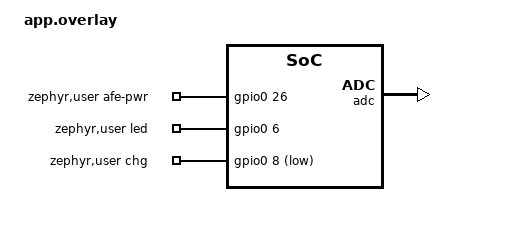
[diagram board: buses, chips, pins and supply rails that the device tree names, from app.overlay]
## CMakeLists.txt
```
#
# Discrete potentiostat firmware (nRF52832 SAADC, NCS)
# 3전극 정전위 크로노암페로메트리 — AD5941 없이 SAADC 직접측정
#
cmake_minimum_required(VERSION 3.20.0)

find_package(Zephyr REQUIRED HINTS $ENV{ZEPHYR_BASE})
project(discrete_pstat)

target_sources(app PRIVATE
	src/main.c
	src/meas.c                 # SAADC 측정 엔진 + AFE 전원 + 배터리
	src/store.c                # rf/os/cal NVM 영속화 (settings)
	src/databuf.c              # 무손실 데이터 버퍼 (AD5941 버전 재사용)
	src/cmd.c                  # JSON 명령 파서 (rf/os/zero/cal 확장)
)
```

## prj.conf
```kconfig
# ============================================================
#  디스크리트 포텐쇼스탯 (nRF52832 SAADC 직접측정)
#  BLE NUS 스트리밍 + RTT 로그 + NVM 설정 저장
# ============================================================

# ---- Bluetooth (BLE NUS) : AD5941 버전과 동일 구조 ----
CONFIG_BT=y
CONFIG_BT_PERIPHERAL=y
CONFIG_BT_DEVICE_NAME="pstat"
CONFIG_BT_NUS=y

# MTU / throughput (샘플 배치 한 줄이 기본 MTU 20B 를 넘으므로 크게)
CONFIG_BT_L2CAP_TX_MTU=247
CONFIG_BT_BUF_ACL_TX_SIZE=251
CONFIG_BT_BUF_ACL_RX_SIZE=251
CONFIG_BT_CTLR_DATA_LENGTH_MAX=251
CONFIG_BT_GATT_CLIENT=y

# HFXO 시동 대기시간 여유 (AD5941 보드 이력 계승 — 안전값)
CONFIG_MPSL_HFCLK_LATENCY=5000

# ---- Peripherals ----
CONFIG_GPIO=y
CONFIG_ADC=y
# SPI 없음 (AD5941 제거) — 명시적으로 끔
CONFIG_SPI=n
CONFIG_SERIAL=n

# ---- 부동소수점 (전류 환산/캘리브레이션) ----
CONFIG_FPU=y
CONFIG_CBPRINTF_FP_SUPPORT=y

# ---- LFCLK: 32.768kHz 크리스탈 미실장 → 내부 RC (+BLE 용 자동 캘리브레이션) ----
CONFIG_CLOCK_CONTROL_NRF_K32SRC_RC=y

# ---- 설정/캘리브레이션 NVM 저장 (rf_ohm / oversample / cal) ----
CONFIG_FLASH=y
CONFIG_FLASH_MAP=y
CONFIG_NVS=y
CONFIG_SETTINGS=y
CONFIG_SETTINGS_NVS=y

# ---- System OFF (배터리 컷오프) ----
CONFIG_POWEROFF=y

# ---- Logging: SEGGER RTT, non-blocking(overwrite) ----
CONFIG_LOG=y
CONFIG_USE_SEGGER_RTT=y
CONFIG_LOG_BACKEND_RTT=y
CONFIG_LOG_BACKEND_RTT_MODE_OVERWRITE=y
CONFIG_SEGGER_RTT_BUFFER_SIZE_UP=2048
CONFIG_LOG_MODE_DEFERRED=y

# ---- Stacks ----
CONFIG_MAIN_STACK_SIZE=4096
CONFIG_HEAP_MEM_POOL_SIZE=2048
```

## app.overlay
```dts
/*
 * ============================================================
 *  디스크리트 포텐쇼스탯 보드 — nRF52832 배선 정의
 *  (사용자 회로도 2026-07-12 확정 핀맵)
 *  ------------------------------------------------------------
 *  기능             넷           nRF52832 핀    비고
 *  ---------------  -----------  ------------   ----------------------
 *  SAADC 차동 +     TIA_OUT      P0.02 / AIN0   ΔV = I×RF
 *  SAADC 차동 −     VREF 1.024V  P0.03 / AIN1   REF35102 출력
 *  VBAT 모니터      VBAT_DIV     P0.04 / AIN2   1M:1M 분압 (VBAT/2)
 *  Qi 패드 감지     Charge       P0.05 / AIN3   MCP73832_VDD(≈5V) 1M:1M 분압
 *  AFE 전원(AVDD)   AVDD         P0.26          high-drive, REF35+LPV802 (~2µA)
 *  충전 상태        GPIO(STAT)   P0.08          MCP73832 STAT, 100k 풀업, LOW=충전중
 *  상태 LED(옵션)   —            P0.06          기본 미실장 — 실장 시 그대로 동작
 *  RESET/SWDIO/SWDCLK = 표준 SWD
 *
 *  AD5941 없음 → SPI 없음. 32.768kHz 크리스탈 없음 → LFRC (prj.conf).
 *  DCC 핀 미접속(인덕터 없음) → LDO 모드 (기본값 — &reg 오버라이드 금지).
 * ============================================================
 */

#include <zephyr/dt-bindings/gpio/nordic-nrf-gpio.h>

/* SAADC 활성화 (채널 구성은 meas.c 에서 런타임 — 게인 오토레인지 때문) */
&adc {
	status = "okay";
};

/* 미사용 주변장치 비활성 (DK 기본 dts 가 켜두는 것들 — 전력/핀 절약) */
&uart0 {
	status = "disabled";
};
&spi1 {
	status = "disabled";
};
&i2c0 {
	status = "disabled";
};

/ {
	zephyr,user {
		/* AVDD 직접 급전: 부하 ~2µA (REF35 VIN 100nF + LPV802 100nF) */
		afe-pwr-gpios = <&gpio0 26 (GPIO_ACTIVE_HIGH | NRF_GPIO_DRIVE_H0H1)>;
		led-gpios     = <&gpio0 6 GPIO_ACTIVE_HIGH>;  /* 옵션 — 미실장이어도 무해 */
		/* STAT 오픈드레인 + 외부 100k 풀업 → 내부 풀 불필요, LOW=충전중 */
		chg-gpios     = <&gpio0 8 GPIO_ACTIVE_LOW>;
	};
};
```

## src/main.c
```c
/*
 * ============================================================
 *  디스크리트 크로노암페로메트리 포텐쇼스탯 — 앱 제어형
 *  (nRF52832 SAADC 직접측정 — AD5941 없음)
 *  ------------------------------------------------------------
 *  - 전위 +0.512V 하드웨어 고정 (REF35102 1.024V + 1:1 분압)
 *  - LPV802 TIA (RF 교체가능: 1M/5.1M/10M) → SAADC 차동 (AIN0−AIN1)
 *  - SAADC 게인 오토레인지 {4, 1, 1/2} + 히스테리시스 + settle 폐기
 *  - HW 오버샘플링(런타임 설정) + 시간기반 페이싱 소프트 평균
 *  - 실행모드: Continuous / Timed / Cycle (대기중 AFE 전원 off = 분극 방지)
 *  - BLE NUS: JSON 명령(start/stop/config/ack/status/zero/cal),
 *    무손실 스트림 {"d":[[seq,t_ms,nA,range],...]} — AD5941 버전과 포맷 동일
 *  - 측정 파라미터 앱 제어: rate/mode/auto/range + rf/os (NVM 저장)
 *  - 캘리브레이션: zero(게인별 오프셋) / cal(더미셀 스케일) — NVM 저장
 *  - 배터리: VBAT 분압 감시, <3.3V 경고+start 거부, <3.0V System OFF
 *
 *  구조: meas_thread = AFE 전원+SAADC 측정 -> databuf 적재
 *        main loop   = databuf -> BLE 전송(무손실) + 상태/배터리 보고
 *        nus_received= JSON 명령 파싱 -> 상태머신/ACK/캘리브레이션 신호
 * ============================================================
 */

#include <zephyr/kernel.h>
#include <zephyr/sys/util.h>
#include <zephyr/sys/atomic.h>
#include <zephyr/sys/poweroff.h>
#include <zephyr/logging/log.h>

#include <zephyr/bluetooth/bluetooth.h>
#include <zephyr/bluetooth/conn.h>
#include <zephyr/bluetooth/gatt.h>
#include <bluetooth/services/nus.h>

#include "pstat.h"
#include "meas.h"
#include "store.h"
#include "databuf.h"
#include "cmd.h"

LOG_MODULE_REGISTER(pstat, LOG_LEVEL_INF);

/* ===================== 고정 상수 ===================== */
#define BIAS_MV        512.0f   /* 인가 전위 V(WE)-V(RE) = +0.512V (하드웨어 고정) */
#define AFE_SETTLE_MS  50       /* AFE_PWR on -> REF/앰프/RC 안정화 대기 */

/* 오토레인지 임계 (|ΔV| / FS 비율) — 게인비 4×/2× 에서 진동 없는 값 */
#define SAT_HI_FRAC    0.85f    /* 초과 시 게인 다운 (범위↑) */
#define SAT_LO_FRAC    0.18f    /* 미만 시 게인 업 (감도↑) */
#define AR_SETTLE      4        /* 게인 변경 후 '결정' 억제 샘플 수 */
#define RANGE_FLUSH    1        /* 게인 변경 직후 버릴 변환 수 */

/* 배터리 정책 (LIR2032 무보호 셀 — 펌웨어가 과방전 보호) */
#define VBAT_WARN_MV   3300     /* 경고 + 신규 start 거부 */
#define VBAT_CUT_MV    3000     /* 데이터 플러시 후 System OFF */
#define VBAT_PERIOD_MS 5000

/* BLE 연결간격 (1.25ms 단위), supervision timeout (10ms 단위)
 * — AD5941 버전에서 검증된 상시 빠른 간격 유지 (전환 지연/타임아웃 회피) */
#define CONN_FAST_MIN  24       /* 30ms */
#define CONN_FAST_MAX  40       /* 50ms */
#define CONN_REST_MIN  24
#define CONN_REST_MAX  40
#define CONN_TIMEOUT   500      /* 5000ms (iOS: interval*3 < timeout) */

/* ===================== 상태 ===================== */
static atomic_t g_state = ATOMIC_INIT(PSTAT_IDLE);
static volatile bool stop_req;
static K_SEM_DEFINE(start_sem, 0, 1);

static struct pstat_config g_cfg = {  /* 기본값 (rf/os 는 NVM 이 덮음) */
	.rate_hz = 10, .mode = PSTAT_MODE_CONTINUOUS, .autorange = true,
	.range_idx = 0, .duration_s = 60, .on_s = 5, .off_s = 295, .cycles = 0,
	.rf_ohm = 2000000, .oversample = 64,
};
static struct pstat_cal g_cal = { .scale = 1.0f, .off_nA = { 0 } };
static K_MUTEX_DEFINE(cfg_lock);

static struct pstat_config rc;   /* run copy (run() 진입 시 스냅샷) */
static int      cur_range;       /* 현재 게인 인덱스 (0=최고감도) */
static int      ar_settle;       /* 오토레인지 결정 억제 카운터 */
static int      range_flush;     /* 게인 변경 후 버릴 변환 수 */
static uint32_t run_t0;
static uint32_t run_cycle;
static uint32_t next_due;        /* 시간기반 페이싱: 다음 출력샘플 마감 */
static volatile bool status_req;
static volatile uint8_t cal_req;      /* 0=없음 1=zero 2=scale */
static volatile uint32_t cal_kohm;
static int      g_vbat_mv = -1;       /* 최근 배터리 전압 (main loop 갱신) */
static bool     low_batt;             /* <VBAT_WARN_MV */

/* ===================== BLE 전방선언 ===================== */
static struct bt_conn *current_conn;
static K_MUTEX_DEFINE(conn_lock);
static volatile bool notif_enabled;
static void ble_set_fast(bool fast);
static int tx_nus(const uint8_t *data, uint16_t len);

static struct bt_conn *conn_get(void)
{
	struct bt_conn *c = NULL;
	k_mutex_lock(&conn_lock, K_FOREVER);
	if (current_conn) {
		c = bt_conn_ref(current_conn);
	}
	k_mutex_unlock(&conn_lock);
	return c;
}

/* ===================== 측정 코어 (SAADC) ===================== */

/* ΔV[V] -> 전류[nA] (RF/캘리브레이션 반영) */
static float dv_to_nA(float dv)
{
	float raw = (dv / (float)rc.rf_ohm) * 1e9f;
	return raw * g_cal.scale - g_cal.off_nA[cur_range];
}

static void apply_range(int idx)
{
	if (meas_set_gain(idx) == 0) {
		cur_range = idx;
		ar_settle = AR_SETTLE;
		range_flush = RANGE_FLUSH;
	}
}

static void autorange_update(float dv)
{
	if (ar_settle > 0) {
		ar_settle--;
		return;
	}
	float av = (dv < 0) ? -dv : dv;
	float fs = meas_fs_volts();
	if (av > SAT_HI_FRAC * fs && cur_range < GAIN_N - 1) {
		apply_range(cur_range + 1);   /* 감도↓ 범위↑ */
	} else if (av < SAT_LO_FRAC * fs && cur_range > 0) {
		apply_range(cur_range - 1);   /* 감도↑ */
	}
}

/* AFE 전원 on + 초기 게인 + 안정화 */
static void afe_start(int range_idx)
{
	afe_power(true);
	k_msleep(AFE_SETTLE_MS);
	cur_range = -1;               /* meas_set_gain 강제 적용 */
	apply_range(range_idx);
	/* 파이프라인/RC 안정화: 첫 변환 몇 개 폐기 */
	float dv;
	for (int i = 0; i < 3 && !stop_req; i++) {
		meas_read_dv(rc.oversample, &dv);
	}
	range_flush = 0;
}

static void afe_stop(void)
{
	afe_power(false);   /* 소모 0 + CE 구동 차단 → 전극 분극 방지 */
}

/* 한 출력샘플: next_due 까지 도착한 HW 오버샘플 변환을 전부 평균해
 * 정확히 rate_hz 로 출력 (AD5941 버전의 SINC2 페이싱과 동일 구조) */
static bool sample_once(struct pstat_sample *smp)
{
	uint32_t period_ms = 1000U / rc.rate_hz;
	float vsum = 0.0f;
	int cnt = 0;
	float dv = 0.0f;

	while (range_flush > 0) {     /* 게인 세틀 구간 폐기 */
		if (stop_req || meas_read_dv(rc.oversample, &dv) != 0) {
			return false;
		}
		range_flush--;
	}

	do {
		if (stop_req) {
			return false;
		}
		if (meas_read_dv(rc.oversample, &dv) != 0) {
			return false;
		}
		vsum += dv;
		cnt++;
	} while ((int32_t)(k_uptime_get_32() - next_due) < 0);

	next_due += period_ms;
	if ((int32_t)(k_uptime_get_32() - next_due) > (int32_t)period_ms) {
		next_due = k_uptime_get_32() + period_ms;   /* 밀림 재동기화 */
	}

	float vavg = vsum / (float)cnt;
	smp->current_nA = dv_to_nA(vavg);
	smp->t_ms       = k_uptime_get_32() - run_t0;
	smp->range_idx  = (uint8_t)cur_range;
	if (rc.autorange) {
		autorange_update(vavg);
	}
	return true;
}

static void measure_phase(uint32_t dur_ms)
{
	uint32_t t0 = k_uptime_get_32();
	struct pstat_sample smp;

	next_due = t0 + 1000U / rc.rate_hz;

	while (!stop_req) {
		if (dur_ms && (k_uptime_get_32() - t0) >= dur_ms) {
			break;
		}
		if (!sample_once(&smp)) {
			break;
		}
		databuf_push(&smp);
	}
}

static void rest_delay(uint32_t ms)
{
	uint32_t t0 = k_uptime_get_32();
	while (!stop_req && (k_uptime_get_32() - t0) < ms) {
		k_msleep(50);
	}
}

static void run_once(void)
{
	int start_idx = rc.autorange ? 0 : CLAMP(rc.range_idx, 0, GAIN_N - 1);

	databuf_reset();
	run_t0 = k_uptime_get_32();
	run_cycle = 0;
	ble_set_fast(true);
	atomic_set(&g_state, PSTAT_RUN);
	status_req = true;
	led_set(true);

	if (rc.mode == PSTAT_MODE_CONTINUOUS) {
		afe_start(start_idx);
		measure_phase(0);
		afe_stop();
	} else if (rc.mode == PSTAT_MODE_TIMED) {
		afe_start(start_idx);
		measure_phase(rc.duration_s * 1000U);
		afe_stop();
	} else { /* CYCLE */
		int idx = start_idx;
		while (!stop_req) {
			run_cycle++;
			atomic_set(&g_state, PSTAT_RUN);
			ble_set_fast(true);
			led_set(true);
			/* 웜업(settle+프라이밍)을 on_s 에 포함 → 주기 길이 정확 */
			uint32_t t_on0 = k_uptime_get_32();
			afe_start(idx);
			uint32_t warm = k_uptime_get_32() - t_on0;
			uint32_t on_ms = rc.on_s * 1000U;
			measure_phase(on_ms > warm ? on_ms - warm : 1);
			afe_stop();
			if (rc.autorange) {
				idx = cur_range;   /* 수렴 게인을 다음 주기로 유지 */
			}
			if (stop_req) {
				break;
			}
			if (rc.cycles && run_cycle >= rc.cycles) {
				break;
			}
			atomic_set(&g_state, PSTAT_CYCLE_REST);
			status_req = true;
			ble_set_fast(false);
			led_set(false);
			rest_delay(rc.off_s * 1000U);
		}
	}

	atomic_set(&g_state, PSTAT_IDLE);
	status_req = true;
	ble_set_fast(false);
	led_set(false);
	LOG_INF("run finished (cycles=%u)", run_cycle);
}

/* ===================== 캘리브레이션 ===================== */

/* 게인별로 N 회 평균 ΔV[V] (AFE 는 이미 on 상태 가정) */
static float avg_dv(int gain_idx, int n)
{
	apply_range(gain_idx);
	float dv, sum = 0.0f;
	int k = 0;
	for (int i = 0; i < RANGE_FLUSH + 2; i++) {
		meas_read_dv(rc.oversample, &dv);   /* settle 폐기 */
	}
	range_flush = 0;
	for (int i = 0; i < n; i++) {
		if (meas_read_dv(rc.oversample, &dv) == 0) {
			sum += dv;
			k++;
		}
	}
	return k ? (sum / (float)k) : 0.0f;
}

/* zero: 셀 오픈(전극 미연결) 상태에서 게인별 오프셋 저장.
 * cal:  기지저항 R[kΩ] 더미셀 → 기대 I = 512mV/R, scale = 기대/측정 */
static void do_calibration(uint8_t kind, uint32_t kohm)
{
	char line[96];
	int n;

	k_mutex_lock(&cfg_lock, K_FOREVER);
	rc = g_cfg;   /* 최신 rf/os 반영 */
	k_mutex_unlock(&cfg_lock);

	afe_power(true);
	k_msleep(AFE_SETTLE_MS * 2);

	if (kind == 1) {          /* zero */
		for (int g = 0; g < GAIN_N; g++) {
			float dv = avg_dv(g, 64);
			g_cal.off_nA[g] = (dv / (float)rc.rf_ohm) * 1e9f * g_cal.scale;
		}
		store_save_cal(&g_cal);
		n = snprintk(line, sizeof(line),
			"{\"cal\":\"zero\",\"off\":[%.3f,%.3f,%.3f]}\n",
			(double)g_cal.off_nA[0], (double)g_cal.off_nA[1],
			(double)g_cal.off_nA[2]);
		tx_nus(line, n);
	} else {                  /* scale (기지저항) */
		float i_exp = (BIAS_MV * 1e6f) / ((float)kohm * 1000.0f); /* nA */
		float dv_exp = i_exp * (float)rc.rf_ohm / 1e9f;           /* V */
		/* 기대 ΔV 가 FS 의 60% 이내인 최고감도 게인 자동 선택 */
		static const float fs_v[GAIN_N] = { 0.15f, 0.6f, 1.2f };
		int g = GAIN_N - 1;
		for (int i = 0; i < GAIN_N; i++) {
			if (dv_exp < 0.6f * fs_v[i]) {
				g = i;
				break;
			}
		}
		float dv = avg_dv(g, 64);
		float i_raw = (dv / (float)rc.rf_ohm) * 1e9f - g_cal.off_nA[g] / g_cal.scale;
		if (i_raw > 0.01f) {
			g_cal.scale = i_exp / i_raw;
			g_cal.scale = CLAMP(g_cal.scale, 0.5f, 2.0f);
			store_save_cal(&g_cal);
		}
		n = snprintk(line, sizeof(line),
			"{\"cal\":\"scale\",\"exp_nA\":%.1f,\"meas_nA\":%.1f,\"scale\":%.4f}\n",
			(double)i_exp, (double)i_raw, (double)g_cal.scale);
		tx_nus(line, n);
	}

	afe_power(false);
	LOG_INF("calibration done (kind=%u)", kind);
}

/* ===================== 측정 스레드 ===================== */
static void meas_thread(void)
{
	while (1) {
		k_sem_take(&start_sem, K_FOREVER);

		if (cal_req) {                       /* 캘리브레이션 요청 */
			uint8_t kind = cal_req;
			cal_req = 0;
			do_calibration(kind, cal_kohm);
			atomic_set(&g_state, PSTAT_IDLE);
			status_req = true;
			continue;
		}

		k_mutex_lock(&cfg_lock, K_FOREVER);
		rc = g_cfg;   /* 스냅샷 */
		k_mutex_unlock(&cfg_lock);
		if (rc.rate_hz == 0) {
			rc.rate_hz = 1;
		}
		if (rc.oversample == 0) {
			rc.oversample = 1;
		}
		LOG_INF("START mode=%u rate=%uHz auto=%d rf=%u os=%u dur=%us on=%us off=%us cyc=%u",
			rc.mode, rc.rate_hz, (int)rc.autorange, rc.rf_ohm,
			rc.oversample, rc.duration_s, rc.on_s, rc.off_s, rc.cycles);
		run_once();
	}
}
K_THREAD_DEFINE(meas_tid, 3072, meas_thread, NULL, NULL, NULL, 5, 0, 0);

/* ===================== BLE ===================== */
#define DEVICE_NAME     CONFIG_BT_DEVICE_NAME
#define DEVICE_NAME_LEN (sizeof(DEVICE_NAME) - 1)

static const struct bt_data ad[] = {
	BT_DATA_BYTES(BT_DATA_FLAGS, (BT_LE_AD_GENERAL | BT_LE_AD_NO_BREDR)),
	BT_DATA(BT_DATA_NAME_COMPLETE, DEVICE_NAME, DEVICE_NAME_LEN),
};
static const struct bt_data sd[] = {
	BT_DATA_BYTES(BT_DATA_UUID128_ALL, BT_UUID_NUS_VAL),
};

static void start_advertising(void)
{
	int err = bt_le_adv_start(BT_LE_ADV_CONN_FAST_1, ad, ARRAY_SIZE(ad),
				  sd, ARRAY_SIZE(sd));
	if (err) {
		LOG_ERR("adv start failed (%d)", err);
	} else {
		LOG_INF("Advertising as '%s'", DEVICE_NAME);
	}
}
static void adv_work_handler(struct k_work *work) { start_advertising(); }
static K_WORK_DEFINE(adv_work, adv_work_handler);

static void ble_set_fast(bool fast)
{
	struct bt_conn *c = conn_get();
	if (!c) {
		return;
	}
	int err = fast
		? bt_conn_le_param_update(c, BT_LE_CONN_PARAM(CONN_FAST_MIN, CONN_FAST_MAX, 0, CONN_TIMEOUT))
		: bt_conn_le_param_update(c, BT_LE_CONN_PARAM(CONN_REST_MIN, CONN_REST_MAX, 0, CONN_TIMEOUT));
	if (err) {
		LOG_WRN("conn param update (%s) req failed (%d)", fast ? "fast" : "rest", err);
	}
	bt_conn_unref(c);
}

static void mtu_exchange_cb(struct bt_conn *conn, uint8_t err,
			    struct bt_gatt_exchange_params *params)
{
	LOG_INF("MTU exchange %s -> %u", err ? "FAIL" : "OK", bt_gatt_get_mtu(conn));
}
static struct bt_gatt_exchange_params mtu_exchange_params;

static void connected(struct bt_conn *conn, uint8_t err)
{
	if (err) {
		LOG_ERR("Connection failed (err %u)", err);
		k_work_submit(&adv_work);
		return;
	}
	k_mutex_lock(&conn_lock, K_FOREVER);
	current_conn = bt_conn_ref(conn);
	k_mutex_unlock(&conn_lock);
	notif_enabled = false;
	LOG_INF("Connected (MTU=%u)", bt_gatt_get_mtu(conn));

	mtu_exchange_params.func = mtu_exchange_cb;
	bt_gatt_exchange_mtu(conn, &mtu_exchange_params);

	databuf_rewind_unsent();
	ble_set_fast(atomic_get(&g_state) == PSTAT_RUN);
}

static void disconnected(struct bt_conn *conn, uint8_t reason)
{
	LOG_INF("Disconnected (reason %u) — 측정 계속, 버퍼 누적", reason);
	notif_enabled = false;
	k_mutex_lock(&conn_lock, K_FOREVER);
	if (current_conn) {
		bt_conn_unref(current_conn);
		current_conn = NULL;
	}
	k_mutex_unlock(&conn_lock);
	k_work_submit(&adv_work);
}

BT_CONN_CB_DEFINE(conn_callbacks) = {
	.connected = connected,
	.disconnected = disconnected,
};

static void nus_received(struct bt_conn *conn, const uint8_t *data, uint16_t len)
{
	struct cmd c;
	struct pstat_config base;

	k_mutex_lock(&cfg_lock, K_FOREVER);
	base = g_cfg;
	k_mutex_unlock(&cfg_lock);

	if (!cmd_parse((const char *)data, len, &c, &base)) {
		LOG_WRN("cmd parse fail (%u B)", len);
		return;
	}

	switch (c.type) {
	case CMD_ACK:
		databuf_ack(c.ack_seq);
		break;
	case CMD_STOP:
		stop_req = true;
		LOG_INF("cmd: stop");
		break;
	case CMD_CONFIG:
		k_mutex_lock(&cfg_lock, K_FOREVER);
		g_cfg = c.cfg;
		k_mutex_unlock(&cfg_lock);
		if (c.hw_changed) {
			store_save_hw(&c.cfg);   /* rf/os 는 NVM 영속화 */
			LOG_INF("cmd: config (rf=%u os=%u saved)", c.cfg.rf_ohm,
				c.cfg.oversample);
		} else {
			LOG_INF("cmd: config");
		}
		break;
	case CMD_START:
		k_mutex_lock(&cfg_lock, K_FOREVER);
		g_cfg = c.cfg;
		k_mutex_unlock(&cfg_lock);
		if (c.hw_changed) {
			store_save_hw(&c.cfg);
		}
		if (low_batt) {
			LOG_WRN("cmd: start 거부 (저전압 %dmV)", g_vbat_mv);
			status_req = true;
			break;
		}
		if (atomic_cas(&g_state, PSTAT_IDLE, PSTAT_RUN)) {
			stop_req = false;
			k_sem_give(&start_sem);
			LOG_INF("cmd: start");
		} else {
			LOG_WRN("cmd: start 무시 (이미 실행중 — stop 먼저)");
		}
		break;
	case CMD_ZERO:
	case CMD_CAL:
		if (atomic_cas(&g_state, PSTAT_IDLE, PSTAT_RUN)) {
			cal_req = (c.type == CMD_ZERO) ? 1 : 2;
			cal_kohm = c.cal_kohm;
			stop_req = false;
			k_sem_give(&start_sem);
			LOG_INF("cmd: cal (kind=%u kohm=%u)", cal_req, cal_kohm);
		} else {
			LOG_WRN("cmd: cal 무시 (측정중 — stop 먼저)");
		}
		break;
	case CMD_STATUS:
		status_req = true;
		break;
	default:
		break;
	}
}

static void nus_send_enabled(enum bt_nus_send_status status)
{
	notif_enabled = (status == BT_NUS_SEND_STATUS_ENABLED);
	LOG_INF("NUS notify %s", notif_enabled ? "ENABLED" : "disabled");
}

static struct bt_nus_cb nus_cb = {
	.received = nus_received,
	.send_enabled = nus_send_enabled,
};

static int tx_nus(const uint8_t *data, uint16_t len)
{
	if (!notif_enabled) {
		return -ENOTCONN;
	}
	struct bt_conn *c = conn_get();
	if (!c) {
		return -ENOTCONN;
	}
	int err = bt_nus_send(c, data, len);
	bt_conn_unref(c);
	return err;
}

/* ===================== 데이터/상태 전송 ===================== */
#define BATCH_MAX   5
#define DRAIN_ITERS 8

static void tx_status(void)
{
	char line[224];
	const char *st = "idle";
	uint8_t mode;
	uint16_t rate;
	uint32_t rf;
	uint16_t os;

	enum pstat_state s = (enum pstat_state)atomic_get(&g_state);
	if (s == PSTAT_RUN) {
		st = "run";
	} else if (s == PSTAT_CYCLE_REST) {
		st = "rest";
	}
	k_mutex_lock(&cfg_lock, K_FOREVER);
	mode = rc.mode;
	rate = rc.rate_hz;
	rf   = g_cfg.rf_ohm;
	os   = g_cfg.oversample;
	k_mutex_unlock(&cfg_lock);

	int n = snprintk(line, sizeof(line),
		"{\"st\":\"%s\",\"mode\":%u,\"rate\":%u,\"cyc\":%u,\"range\":%d,"
		"\"pend\":%u,\"buf\":%u,\"gap\":%d,"
		"\"vbat\":%d,\"chg\":%d,\"qi\":%d,\"lb\":%d,\"rf\":%u,\"os\":%u}\n",
		st, mode, rate, run_cycle, cur_range,
		databuf_pending(), databuf_unacked(), (int)databuf_gap(),
		g_vbat_mv, (int)meas_charging(), (int)meas_qi_present(),
		(int)low_batt, rf, os);
	tx_nus(line, n);
}

/* 배터리 감시: 경고/컷오프. 컷오프 시 측정 정지→플러시 대기→System OFF */
static void battery_check(void)
{
	int mv = meas_vbat_mv();
	if (mv < 0) {
		return;
	}
	g_vbat_mv = mv;
	bool lb = (mv < VBAT_WARN_MV);
	if (lb != low_batt) {
		low_batt = lb;
		status_req = true;
		LOG_WRN("battery %dmV (%s)", mv, lb ? "LOW" : "ok");
	}
	if (mv < VBAT_CUT_MV && !meas_charging()) {
		LOG_ERR("battery cutoff (%dmV) — flush 후 System OFF", mv);
		stop_req = true;
		/* 남은 데이터 플러시 기회 (연결돼 있으면 main loop 가 전송) */
		for (int i = 0; i < 100 && databuf_pending(); i++) {
			k_msleep(100);
		}
		afe_power(false);
		led_set(false);
		sys_poweroff();   /* 복귀 = 리셋(충전 후 전원 재투입) */
	}
}

int main(void)
{
	int err;

	LOG_INF("=== discrete potentiostat (nRF52832 SAADC, app-controlled) ===");

	if (meas_init() != 0) {
		LOG_ERR("meas init failed");
		return 0;
	}
	store_init(&g_cfg, &g_cal);   /* NVM 에서 rf/os/cal 로드 */

	err = bt_enable(NULL);
	if (err) {
		LOG_ERR("bt_enable failed (%d)", err);
		return 0;
	}
	bt_nus_init(&nus_cb);
	start_advertising();
	battery_check();
	LOG_INF("ready. rf=%u os=%u scale=%.4f vbat=%dmV",
		g_cfg.rf_ohm, g_cfg.oversample, (double)g_cal.scale, g_vbat_mv);

	uint32_t tick = 0;
	char line[256];
	struct pstat_sample batch[BATCH_MAX];

	while (1) {
		k_msleep(20);
		tick++;

		/* 배터리: 5초마다 (측정 중에도 — SAADC 채널 분리라 간섭 없음) */
		if ((tick % (VBAT_PERIOD_MS / 20)) == 0) {
			battery_check();
		}
		/* 유휴+미연결: LED 짧은 블링크 (광고 표시) */
		if (!current_conn && atomic_get(&g_state) == PSTAT_IDLE) {
			led_set((tick % 100) < 3);   /* 2초마다 60ms */
		}

		if (!current_conn || !notif_enabled) {
			if ((tick % 250) == 0) {
				LOG_INF("alive up=%us state=%ld pend=%u buf=%u vbat=%d conn=%d",
					k_uptime_get_32() / 1000U, atomic_get(&g_state),
					databuf_pending(), databuf_unacked(),
					g_vbat_mv, current_conn ? 1 : 0);
			}
			continue;
		}

		/* 데이터 드레인 (무손실: 전송 성공한 배치만 절대위치 commit) */
		for (int it = 0; it < DRAIN_ITERS; it++) {
			uint32_t base;
			uint32_t k = databuf_peek_batch(batch, BATCH_MAX, &base);
			if (k == 0) {
				break;
			}
			int o = snprintk(line, sizeof(line), "{\"d\":[");
			for (uint32_t i = 0; i < k; i++) {
				size_t rem = (o < (int)sizeof(line)) ? sizeof(line) - o : 0;
				o += snprintk(line + o, rem, "%s[%u,%u,%.3f,%u]",
					i ? "," : "", batch[i].seq, batch[i].t_ms,
					(double)batch[i].current_nA, batch[i].range_idx);
			}
			{
				size_t rem = (o < (int)sizeof(line)) ? sizeof(line) - o : 0;
				o += snprintk(line + o, rem, "]}\n");
			}
			if (o >= (int)sizeof(line)) {
				continue;
			}
			if (tx_nus(line, o) == 0) {
				databuf_commit_sent(base, k);
			} else {
				break;
			}
		}

		if (status_req || (tick % 50) == 0) {
			status_req = false;
			tx_status();
		}
	}
	return 0;
}
```

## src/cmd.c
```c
/*
 * cmd.c — 소형 JSON 명령 파서 (고정 스키마 전용, 범용 아님)
 *  AD5941 버전과 동일 구조 + rf/os/zero/cal 확장.
 */
#include "cmd.h"
#include <zephyr/sys/util.h>
#include <stdlib.h>
#include <string.h>
#include <stdio.h>

/* "key" 뒤 콜론 다음 값의 시작 포인터 반환 (없으면 NULL) */
static const char *jfind(const char *buf, const char *key)
{
	char pat[24];
	snprintf(pat, sizeof(pat), "\"%s\"", key);
	const char *p = strstr(buf, pat);
	if (!p) {
		return NULL;
	}
	p += strlen(pat);
	while (*p && *p != ':') {
		p++;
	}
	if (*p != ':') {
		return NULL;
	}
	p++;
	while (*p == ' ' || *p == '\t') {
		p++;
	}
	return p;
}

static bool jint(const char *buf, const char *key, long *out)
{
	const char *p = jfind(buf, key);
	if (!p) {
		return false;
	}
	char *end = NULL;
	long v = strtol(p, &end, 10);
	if (end == p) {
		return false;
	}
	*out = v;
	return true;
}

static bool jstr(const char *buf, const char *key, char *out, size_t n)
{
	const char *p = jfind(buf, key);
	if (!p || *p != '"') {
		return false;
	}
	p++;
	size_t i = 0;
	while (*p && *p != '"' && i < n - 1) {
		out[i++] = *p++;
	}
	out[i] = '\0';
	return true;
}

/* 1..256 을 2^n 으로 절사 */
static uint16_t pow2_floor(long v)
{
	uint16_t p = 1;
	while ((p << 1) <= v && p < 256) {
		p <<= 1;
	}
	return p;
}

bool cmd_parse(const char *json, size_t len, struct cmd *out,
	       const struct pstat_config *base)
{
	char buf[192];
	size_t n = (len < sizeof(buf) - 1) ? len : sizeof(buf) - 1;
	memcpy(buf, json, n);
	buf[n] = '\0';

	char c[16];
	if (!jstr(buf, "cmd", c, sizeof(c))) {
		return false;
	}

	memset(out, 0, sizeof(*out));
	long v;

	if (!strcmp(c, "ack")) {
		out->type = CMD_ACK;
		if (jint(buf, "seq", &v)) {
			out->ack_seq = (uint32_t)v;
		}
		return true;
	}
	if (!strcmp(c, "stop")) {
		out->type = CMD_STOP;
		return true;
	}
	if (!strcmp(c, "status")) {
		out->type = CMD_STATUS;
		return true;
	}
	if (!strcmp(c, "zero")) {
		out->type = CMD_ZERO;
		return true;
	}
	if (!strcmp(c, "cal")) {
		out->type = CMD_CAL;
		out->cal_kohm = 1000;   /* 기본 1 MΩ 더미셀 */
		if (jint(buf, "kohm", &v)) {
			out->cal_kohm = (uint32_t)CLAMP(v, 1, 100000);
		}
		return true;
	}
	if (!strcmp(c, "config") || !strcmp(c, "start")) {
		out->type = strcmp(c, "start") ? CMD_CONFIG : CMD_START;
		out->cfg = *base;   /* 미지정 필드는 현재값 유지 */

		if (jint(buf, "rate", &v)) {
			out->cfg.rate_hz = (uint16_t)CLAMP(v, 1, 100);
		}
		char m[12];
		if (jstr(buf, "mode", m, sizeof(m))) {
			if (!strcmp(m, "continuous")) {
				out->cfg.mode = PSTAT_MODE_CONTINUOUS;
			} else if (!strcmp(m, "timed")) {
				out->cfg.mode = PSTAT_MODE_TIMED;
			} else if (!strcmp(m, "cycle")) {
				out->cfg.mode = PSTAT_MODE_CYCLE;
			}
		}
		/* 초 값 상한: *1000(ms) 가 uint32 를 넘지 않게 */
		if (jint(buf, "dur", &v)) {
			out->cfg.duration_s = (uint32_t)CLAMP(v, 0, 4000000);
		}
		if (jint(buf, "on", &v)) {
			out->cfg.on_s = (uint32_t)CLAMP(v, 0, 4000000);
		}
		if (jint(buf, "off", &v)) {
			out->cfg.off_s = (uint32_t)CLAMP(v, 0, 4000000);
		}
		if (jint(buf, "cycles", &v)) {
			out->cfg.cycles = (uint32_t)MAX(v, 0);
		}
		if (jint(buf, "auto", &v)) {
			out->cfg.autorange = (v != 0);
		}
		if (jint(buf, "range", &v)) {
			out->cfg.range_idx = (uint8_t)CLAMP(v, 0, GAIN_N - 1);
		}
		/* --- 하드웨어 파라미터 (지정 시 NVM 저장 플래그) --- */
		if (jint(buf, "rf", &v)) {
			out->cfg.rf_ohm = (uint32_t)CLAMP(v, 10000, 100000000);
			out->hw_changed = true;
		}
		if (jint(buf, "os", &v)) {
			out->cfg.oversample = pow2_floor(CLAMP(v, 1, 256));
			out->hw_changed = true;
		}
		return true;
	}
	return false;
}
```

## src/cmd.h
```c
/*
 * cmd.h — BLE(NUS) JSON 명령 파서 (AD5941 버전과 프로토콜 호환 + 확장)
 *  기존 명령 (앱 무수정 동작):
 *   {"cmd":"start","mode":"cycle","rate":10,"on":5,"off":295,"cycles":0,"auto":1}
 *   {"cmd":"config",...}   {"cmd":"stop"}   {"cmd":"status"}   {"cmd":"ack","seq":N}
 *  확장 (측정 파라미터 — config/start 에 추가 필드로):
 *   "rf":1000000      TIA RF [Ω] (보드에서 교체 시 알려줌, NVM 저장)
 *   "os":64           SAADC 하드웨어 오버샘플 (1..256, 2^n 절사, NVM 저장)
 *   "auto":0,"range":2  게인 수동 고정 (0=±150nA … 2=±2.1µA @1MΩ)
 *  확장 (캘리브레이션):
 *   {"cmd":"zero"}              셀 오픈 상태에서 게인별 제로 오프셋 측정+저장
 *   {"cmd":"cal","kohm":1000}   기지저항 더미셀로 스케일 보정 (I=512mV/R)
 *  전위는 하드웨어 고정(+0.512V)이라 명령에 없음.
 */
#ifndef CMD_H_
#define CMD_H_

#include "pstat.h"
#include <stddef.h>

enum cmd_type {
	CMD_NONE = 0,
	CMD_CONFIG,
	CMD_START,
	CMD_STOP,
	CMD_ACK,
	CMD_STATUS,
	CMD_ZERO,      /* 제로(오프셋) 캘리브레이션 */
	CMD_CAL,       /* 스케일 캘리브레이션 (기지저항) */
};

struct cmd {
	enum cmd_type type;
	struct pstat_config cfg; /* CONFIG/START: base 에서 시작해 지정 필드만 덮음 */
	uint32_t ack_seq;        /* ACK */
	uint32_t cal_kohm;       /* CAL: 더미셀 저항 [kΩ] */
	bool     hw_changed;     /* rf/os 필드가 실제로 지정됨 → NVM 저장 필요 */
};

/* JSON 한 줄 파싱. base=현재 설정(미지정 필드 기본값). 성공 시 true. */
bool cmd_parse(const char *json, size_t len, struct cmd *out,
	       const struct pstat_config *base);

#endif /* CMD_H_ */
```

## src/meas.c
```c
/*
 * meas.c — SAADC 측정 엔진 구현 (nRF52832)
 * ------------------------------------------------------------
 *  - 차동 12bit: AIN0(TIA_OUT) − AIN1(VREF 1.024V), 내부 0.6V 레퍼런스
 *  - 게인 테이블 {4, 1, 1/2} → FS ±0.15/±0.6/±1.2 V (index0 = 최고감도)
 *  - HW 오버샘플링(≤256, 단일채널 burst) — RF 가 작을수록 크게 설정
 *  - acquisition 40 µs: 소스 임피던스(RC 1 kΩ + TIA 출력) 대응
 *  - 게인 전환 시 SAADC 오프셋 캘리브레이션 재수행
 */
#include "meas.h"
#include "pstat.h"

#include <zephyr/kernel.h>
#include <zephyr/device.h>
#include <zephyr/drivers/adc.h>
#include <zephyr/drivers/gpio.h>
#include <zephyr/logging/log.h>
#include <hal/nrf_saadc.h>

LOG_MODULE_REGISTER(meas, LOG_LEVEL_INF);

#define ADC_NODE  DT_NODELABEL(adc)
static const struct device *adc_dev = DEVICE_DT_GET(ADC_NODE);

static const struct gpio_dt_spec afe_pwr =
	GPIO_DT_SPEC_GET(DT_PATH(zephyr_user), afe_pwr_gpios);
static const struct gpio_dt_spec led =
	GPIO_DT_SPEC_GET(DT_PATH(zephyr_user), led_gpios);
static const struct gpio_dt_spec chg =
	GPIO_DT_SPEC_GET(DT_PATH(zephyr_user), chg_gpios);

/* 게인 테이블: index0 = 최고감도 (FS 좁음) */
static const struct {
	enum adc_gain gain;
	float fs_v;                 /* |ΔV| 풀스케일 = 0.6 V / gain */
} GAIN_TAB[GAIN_N] = {
	{ ADC_GAIN_4,   0.15f },    /* |I| < 150 nA @1 MΩ, LSB 73 pA */
	{ ADC_GAIN_1,   0.6f  },
	{ ADC_GAIN_1_2, 1.2f  },    /* −0.9 / +2.1 µA 풀레인지 @1 MΩ */
};

#define CH_MEAS  0
#define CH_VBAT  1
#define CH_QI    2

static int  cur_gain = GAIN_N - 1;
static bool need_calib = true;      /* 게인 변경/부팅 후 1회 SAADC 캘리브레이션 */

static int setup_meas_channel(int gain_idx)
{
	const struct adc_channel_cfg cfg = {
		.gain             = GAIN_TAB[gain_idx].gain,
		.reference        = ADC_REF_INTERNAL,          /* 0.6 V */
		.acquisition_time = ADC_ACQ_TIME(ADC_ACQ_TIME_MICROSECONDS, 40),
		.channel_id       = CH_MEAS,
		.differential     = 1,
		.input_positive   = NRF_SAADC_AIN0,            /* TIA_OUT (P0.02) */
		.input_negative   = NRF_SAADC_AIN1,            /* VREF    (P0.03) */
	};
	return adc_channel_setup(adc_dev, &cfg);
}

static int setup_vbat_channel(void)
{
	const struct adc_channel_cfg cfg = {
		.gain             = ADC_GAIN_1_4,              /* FS 2.4 V (VBAT/2 ≤ 2.1) */
		.reference        = ADC_REF_INTERNAL,
		.acquisition_time = ADC_ACQ_TIME(ADC_ACQ_TIME_MICROSECONDS, 40),
		.channel_id       = CH_VBAT,
		.input_positive   = NRF_SAADC_AIN2,            /* VBAT/2 (P0.04) */
	};
	return adc_channel_setup(adc_dev, &cfg);
}

static int setup_qi_channel(void)
{
	const struct adc_channel_cfg cfg = {
		.gain             = ADC_GAIN_1_4,              /* FS 2.4 V (5V/2 → 2.5V 는 클램프돼도 판정 무관) */
		.reference        = ADC_REF_INTERNAL,
		.acquisition_time = ADC_ACQ_TIME(ADC_ACQ_TIME_MICROSECONDS, 40),
		.channel_id       = CH_QI,
		.input_positive   = NRF_SAADC_AIN3,            /* Charge = MCP73832_VDD/2 (P0.05) */
	};
	return adc_channel_setup(adc_dev, &cfg);
}

int meas_init(void)
{
	if (!device_is_ready(adc_dev)) {
		LOG_ERR("ADC not ready");
		return -ENODEV;
	}
	int err = gpio_pin_configure_dt(&afe_pwr, GPIO_OUTPUT_INACTIVE);
	err |= gpio_pin_configure_dt(&led, GPIO_OUTPUT_INACTIVE);
	err |= gpio_pin_configure_dt(&chg, GPIO_INPUT);
	if (err) {
		LOG_ERR("gpio config failed");
		return -EIO;
	}
	err = setup_meas_channel(cur_gain);
	err |= setup_vbat_channel();
	err |= setup_qi_channel();
	return err ? -EIO : 0;
}

void afe_power(bool on)
{
	gpio_pin_set_dt(&afe_pwr, on ? 1 : 0);
}

int meas_set_gain(int gain_idx)
{
	if (gain_idx < 0 || gain_idx >= GAIN_N) {
		return -EINVAL;
	}
	if (gain_idx == cur_gain) {
		return 0;
	}
	int err = setup_meas_channel(gain_idx);
	if (err == 0) {
		cur_gain = gain_idx;
		need_calib = true;   /* 게인 바뀌면 SAADC 오프셋 재캘리브레이션 */
	}
	return err;
}

float meas_fs_volts(void)
{
	return GAIN_TAB[cur_gain].fs_v;
}

/* oversample(1..256) → log2 절사 */
static uint8_t os_log2(uint16_t os)
{
	uint8_t n = 0;
	while ((1U << (n + 1)) <= os && n < 8) {
		n++;
	}
	return n;
}

int meas_read_dv(uint16_t oversample, float *dv)
{
	int16_t raw;
	struct adc_sequence seq = {
		.channels     = BIT(CH_MEAS),
		.buffer       = &raw,
		.buffer_size  = sizeof(raw),
		.resolution   = 12,
		.oversampling = os_log2(oversample),
		.calibrate    = need_calib,
	};
	int err = adc_read(adc_dev, &seq);
	if (err) {
		return err;
	}
	need_calib = false;
	/* 차동 12bit: −2048..2047 → ΔV = raw/2048 × FS */
	*dv = ((float)raw / 2048.0f) * GAIN_TAB[cur_gain].fs_v;
	return 0;
}

int meas_vbat_mv(void)
{
	int16_t raw;
	struct adc_sequence seq = {
		.channels    = BIT(CH_VBAT),
		.buffer      = &raw,
		.buffer_size = sizeof(raw),
		.resolution  = 12,
	};
	int err = adc_read(adc_dev, &seq);
	if (err) {
		return err;
	}
	if (raw < 0) {
		raw = 0;
	}
	/* 단극 12bit: V = raw/4096 × 2.4 V, 분압 1:1 → ×2 → mV */
	return (int)((raw * 2400L * 2L) / 4096L);
}

int meas_qi_mv(void)
{
	int16_t raw;
	struct adc_sequence seq = {
		.channels    = BIT(CH_QI),
		.buffer      = &raw,
		.buffer_size = sizeof(raw),
		.resolution  = 12,
	};
	int err = adc_read(adc_dev, &seq);
	if (err) {
		return err;
	}
	if (raw < 0) {
		raw = 0;
	}
	/* 단극 12bit: V = raw/4096 × 2.4 V, 분압 1:1 → ×2 → mV (패드 위 ≈5000) */
	return (int)((raw * 2400L * 2L) / 4096L);
}

bool meas_qi_present(void)
{
	/* BQ51013B OUT 은 패드 위에서 5V 정전압 — 절반인 2.5V 를 한참 밑도는
	 * 2V 를 문턱으로 (패드 밖은 방전된 채 ~0V) */
	return meas_qi_mv() > 2000;
}

bool meas_charging(void)
{
	/* /CHG (STAT): 오픈드레인, LOW=충전중. overlay 에서 ACTIVE_LOW 선언
	 * → 논리 1 = 충전중 */
	return gpio_pin_get_dt(&chg) == 1;
}

void led_set(bool on)
{
	gpio_pin_set_dt(&led, on ? 1 : 0);
}
```

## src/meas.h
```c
/*
 * meas.h — SAADC 측정 엔진 + AFE 전원 + 배터리/충전 모니터
 * ------------------------------------------------------------
 * 하드웨어 (사용자 회로도 확정 핀맵 — app.overlay 와 일치):
 *   AIN0 = P0.02 = TIA_OUT      (차동 +)   ΔV = I_WE × RF
 *   AIN1 = P0.03 = VREF 1.024 V (차동 −)
 *   AIN2 = P0.04 = VBAT × 1/2   (1 MΩ:1 MΩ 분압)
 *   AIN3 = P0.05 = Charge = MCP73832_VDD × 1/2 (Qi 패드 감지, 패드 위 ≈2.5 V)
 *   P0.26 = AVDD 직접 급전 (high-drive, REF35102 + LPV802 ~2 µA)
 *   P0.08 = /CHG (MCP73832 STAT, 오픈드레인+100k 풀업, LOW=충전중)
 *   P0.06 = LED (옵션, 기본 미실장)
 */
#ifndef MEAS_H_
#define MEAS_H_

#include <stdint.h>
#include <stdbool.h>

int  meas_init(void);

/* AFE(레퍼런스+앰프) 전원. on 후 안정화 ~50 ms 는 호출측에서 대기. */
void afe_power(bool on);

/* SAADC 게인 전환 (0..GAIN_N-1). 다음 read 에서 재캘리브레이션 수행. */
int  meas_set_gain(int gain_idx);

/* 한 번의 HW 오버샘플 변환 → ΔV [V] (TIA_OUT − VREF).
 * oversample 은 2^n 으로 절사(1..256). 실패 시 음수 반환. */
int  meas_read_dv(uint16_t oversample, float *dv);

/* 현재 게인의 풀스케일 [V] (±FS) */
float meas_fs_volts(void);

/* 배터리 전압 [mV] (분압 ×2 반영). 실패 시 음수. */
int  meas_vbat_mv(void);

/* Qi 충전패드 위에 있으면(무선 5V 수신 중) true / 원시값 [mV] */
bool meas_qi_present(void);
int  meas_qi_mv(void);

/* 충전 중이면 true (MCP73832 STAT LOW) */
bool meas_charging(void);

void led_set(bool on);

#endif /* MEAS_H_ */
```

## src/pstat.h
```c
/*
 * pstat.h — 디스크리트 포텐쇼스탯(nRF52832 SAADC 직접측정) 공유 타입
 * ------------------------------------------------------------
 * AD5941 버전과의 차이:
 *  - MCU 가 직접 ADC (SAADC 차동: AIN0=TIA_OUT − AIN1=VREF 1.024V)
 *  - 레인지 = SAADC 게인 인덱스 (RTIA 전환 아님 — RF 는 고정 저항)
 *  - RF/오버샘플링은 보드에서 교체/조정 가능하므로 런타임 설정값 (NVM 저장)
 * 전위는 하드웨어 고정(+0.512V, VREF 1:1 분압)이므로 config 에 전압 필드 없음.
 */
#ifndef PSTAT_H_
#define PSTAT_H_

#include <stdint.h>
#include <stdbool.h>

/* 실행 모드 */
enum pstat_mode {
	PSTAT_MODE_CONTINUOUS = 0, /* 무한 (stop 까지) */
	PSTAT_MODE_TIMED,          /* duration_s 후 자동정지 */
	PSTAT_MODE_CYCLE,          /* on_s 측정 / off_s 대기(AFE off) 반복 */
};

/* 실행 상태 */
enum pstat_state {
	PSTAT_IDLE = 0,
	PSTAT_RUN,        /* 측정중 */
	PSTAT_CYCLE_REST, /* cycle 대기 (AFE 전원 off) */
};

/* SAADC 게인 레인지: index0 = 최고감도. FS(ΔV) = ±0.6V/gain */
#define GAIN_N 3   /* 0: gain4(±0.15V) / 1: gain1(±0.6V) / 2: gain1/2(±1.2V) */

/* 앱에서 받는 측정 설정 (BLE config/start 로 갱신, rf/os 는 NVM 저장) */
struct pstat_config {
	uint16_t rate_hz;    /* 출력 샘플레이트 1~100 */
	uint8_t  mode;       /* enum pstat_mode */
	bool     autorange;  /* true=SAADC 게인 오토레인지 */
	uint8_t  range_idx;  /* 수동/시작 게인 인덱스 (0..GAIN_N-1) */
	uint32_t duration_s; /* TIMED: 측정 시간 */
	uint32_t on_s;       /* CYCLE: 측정 구간 */
	uint32_t off_s;      /* CYCLE: 대기 구간 */
	uint32_t cycles;     /* CYCLE: 반복 횟수 (0=무한) */
	/* --- 하드웨어 파라미터 (RF/CF 교체 시 앱에서 변경, NVM 저장) --- */
	uint32_t rf_ohm;     /* TIA 피드백 저항 [Ω] (기본 1M, 5.1M/10M 교체 가능) */
	uint16_t oversample; /* SAADC 하드웨어 오버샘플 1/2/4/…/256 (2^n 으로 반올림) */
};

/* 캘리브레이션 (NVM 저장) */
struct pstat_cal {
	float scale;            /* 전류 스케일 (더미셀 보정, 기본 1.0) */
	float off_nA[GAIN_N];   /* 게인별 제로 오프셋 [nA] (셀 오픈 보정) */
};

/* 한 측정 샘플 (16바이트) — 전송 포맷 [seq,t_ms,current_nA,range] 동일 */
struct pstat_sample {
	uint32_t seq;        /* 전역 시퀀스, databuf 가 부여 */
	uint32_t t_ms;       /* 런 시작 후 경과 ms */
	float    current_nA; /* 전류 (게인/RF/캘리브레이션 반영) */
	uint8_t  range_idx;  /* 이 샘플의 SAADC 게인 인덱스 */
	uint8_t  _pad[3];
};

#endif /* PSTAT_H_ */
```

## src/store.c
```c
/*
 * store.c — settings/NVS 영속화 구현
 *  키: pstat/rf (u32), pstat/os (u16), pstat/cal (struct pstat_cal)
 */
#include "store.h"

#include <zephyr/kernel.h>
#include <zephyr/settings/settings.h>
#include <zephyr/logging/log.h>
#include <string.h>

LOG_MODULE_REGISTER(store, LOG_LEVEL_INF);

static struct pstat_config *s_cfg;
static struct pstat_cal    *s_cal;

static int pstat_set(const char *name, size_t len, settings_read_cb read_cb,
		     void *cb_arg)
{
	if (!strcmp(name, "rf") && len == sizeof(uint32_t)) {
		uint32_t v;
		if (read_cb(cb_arg, &v, sizeof(v)) == sizeof(v) && v >= 10000 &&
		    v <= 100000000) {
			s_cfg->rf_ohm = v;
		}
		return 0;
	}
	if (!strcmp(name, "os") && len == sizeof(uint16_t)) {
		uint16_t v;
		if (read_cb(cb_arg, &v, sizeof(v)) == sizeof(v) && v >= 1 && v <= 256) {
			s_cfg->oversample = v;
		}
		return 0;
	}
	if (!strcmp(name, "cal") && len == sizeof(struct pstat_cal)) {
		struct pstat_cal c;
		if (read_cb(cb_arg, &c, sizeof(c)) == sizeof(c) &&
		    c.scale > 0.5f && c.scale < 2.0f) {   /* 온전성 검사 */
			*s_cal = c;
		}
		return 0;
	}
	return -ENOENT;
}

SETTINGS_STATIC_HANDLER_DEFINE(pstat, "pstat", NULL, pstat_set, NULL, NULL);

int store_init(struct pstat_config *cfg, struct pstat_cal *cal)
{
	s_cfg = cfg;
	s_cal = cal;
	int err = settings_subsys_init();
	if (err) {
		LOG_ERR("settings init failed (%d)", err);
		return err;
	}
	settings_load_subtree("pstat");
	LOG_INF("loaded: rf=%u os=%u scale=%.4f", cfg->rf_ohm, cfg->oversample,
		(double)cal->scale);
	return 0;
}

void store_save_hw(const struct pstat_config *cfg)
{
	settings_save_one("pstat/rf", &cfg->rf_ohm, sizeof(cfg->rf_ohm));
	settings_save_one("pstat/os", &cfg->oversample, sizeof(cfg->oversample));
}

void store_save_cal(const struct pstat_cal *cal)
{
	settings_save_one("pstat/cal", cal, sizeof(*cal));
}
```

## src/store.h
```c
/*
 * store.h — 설정/캘리브레이션 NVM 영속화 (Zephyr settings + NVS)
 *  RF/CF 교체 절차: ① 새 RF 납땜 ② 앱에서 {"cmd":"config","rf":...,"os":...}
 *  ③ 더미셀 {"cmd":"cal","kohm":...} + 셀 오픈 {"cmd":"zero"} — 리플래시 불필요.
 */
#ifndef STORE_H_
#define STORE_H_

#include "pstat.h"

/* settings 서브시스템 초기화 + 저장값 로드(cfg/cal 의 해당 필드 덮어씀) */
int  store_init(struct pstat_config *cfg, struct pstat_cal *cal);

/* rf_ohm/oversample 영속화 (config 명령으로 바뀔 때 호출) */
void store_save_hw(const struct pstat_config *cfg);

/* 캘리브레이션 영속화 (zero/cal 명령 후 호출) */
void store_save_cal(const struct pstat_cal *cal);

#endif /* STORE_H_ */
```
